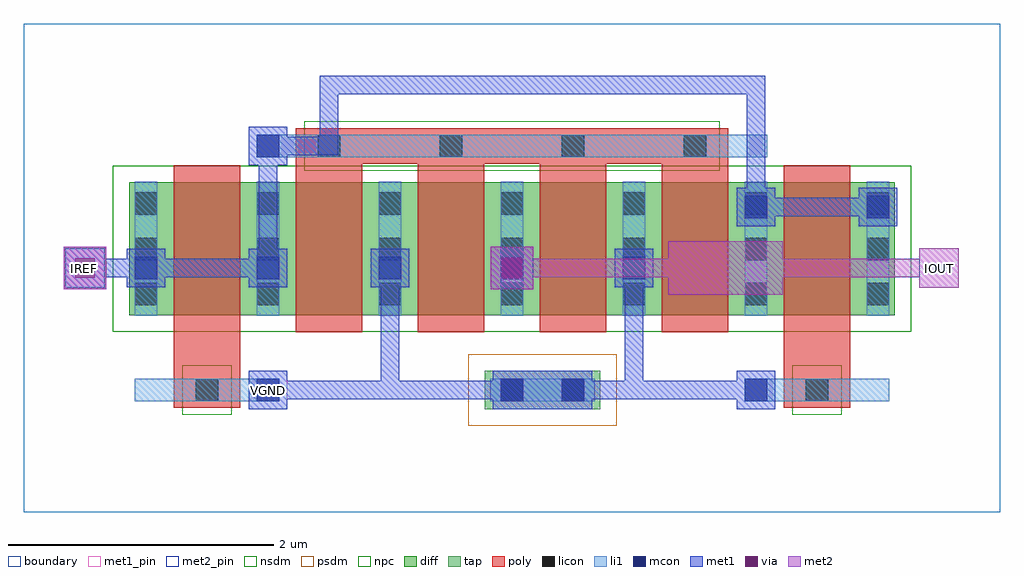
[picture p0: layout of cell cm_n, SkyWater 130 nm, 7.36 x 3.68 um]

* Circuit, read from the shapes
.subckt cm_n IOUT IREF VGND
XM1 IREF VGND IREF VGND sky130_fd_pr__nfet_01v8 w=1 l=0.5 m=2
XM2 VGND IREF IREF VGND sky130_fd_pr__nfet_01v8 w=1 l=0.5 m=2
XM3 IOUT IREF VGND VGND sky130_fd_pr__nfet_01v8 w=1 l=0.5 m=2
.ends

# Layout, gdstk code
import gdstk
lib = gdstk.Library(unit=1e-6, precision=1e-09)
def R(c, l, rs):  # rectangles x0, y0, x1, y1
    for r in rs: c.add(gdstk.rectangle(r[:2], r[2:], *l))
def A(c, l, x, y, w, h, nx, ny, dx, dy):  # array of equal rectangles
    R(c, l, [(x+i*dx, y+j*dy, x+i*dx+w, y+j*dy+h) for i in range(nx) for j in range(ny)])
diff = (65, 20)
tap = (65, 44)
poly = (66, 20)
licon = (66, 44)
li1 = (67, 20)
mcon = (67, 44)
met1_pin = (68, 16)
met1 = (68, 20)
via = (68, 44)
met2_pin = (69, 16)
met2 = (69, 20)
nsdm = (93, 44)
psdm = (94, 20)
npc = (95, 20)
boundary = (235, 4)

cm_n = lib.new_cell('cm_n')
R(cm_n, diff, [(0.795,1.485,6.565,2.485)])
R(cm_n, tap, [(3.475,0.775,4.345,1.065)])
A(cm_n, poly, 2.05, 1.355, 0.5, 1.405, 4, 1, 0.92, 0)
R(cm_n, poly, [(1.13,0.785,1.63,1.055), (5.73,0.785,6.23,1.055), (1.13,0.92,1.63,2.615), (5.73,0.92,6.23,2.615), (2.05,2.625,5.31,2.895)])
A(cm_n, licon, 0.835, 1.56, 0.17, 0.17, 7, 3, 0.92, 0.34)
A(cm_n, licon, 2.215, 2.675, 0.17, 0.17, 4, 1, 0.92, 0)
R(cm_n, licon, [(1.295,0.835,1.465,1.005), (3.595,0.835,3.765,1.005), (4.055,0.835,4.225,1.005), (5.895,0.835,6.065,1.005)])
A(cm_n, li1, 0.835, 1.48, 0.17, 1.01, 7, 1, 0.92, 0)
R(cm_n, li1, [(0.835,0.835,1.925,1.005), (3.515,0.835,4.305,1.005), (5.435,0.835,6.525,1.005), (1.755,2.675,5.605,2.845)])
A(cm_n, mcon, 0.835, 1.755, 0.17, 0.17, 5, 1, 0.92, 0)
R(cm_n, mcon, [(1.755,0.835,1.925,1.005), (3.595,0.835,3.765,1.005), (4.055,0.835,4.225,1.005), (5.435,0.835,5.605,1.005), (5.435,2.215,5.605,2.385), (6.355,2.215,6.525,2.385), (1.755,2.675,1.925,2.845)])
R(cm_n, met1_pin, [(1.695,0.775,1.985,1.065)])
A(cm_n, met1, 1.77, 0.85, 1.06, 0.14, 4, 1, 0.92, 0)
A(cm_n, met1, 0.775, 1.695, 0.29, 0.29, 5, 1, 0.92, 0)
R(cm_n, met1, [(1.695,0.775,1.985,1.065), (3.535,0.775,4.285,1.065), (5.375,0.775,5.665,1.065), (2.69,0.85,2.83,1.91), (3.61,0.85,3.75,0.99), (4.53,0.85,4.67,1.91), (0.3,1.68,0.62,2), (3.52,1.68,3.84,2), (0.39,1.77,0.99,1.91), (0.85,1.77,1.91,1.91), (1.77,1.77,1.91,2.83), (5.375,2.155,5.665,2.445), (6.295,2.155,6.585,2.445), (5.45,2.23,6.51,2.37), (5.45,2.23,5.59,3.29), (1.695,2.615,1.985,2.905), (1.77,2.69,2.37,2.83), (2.23,2.69,2.37,3.29), (2.23,3.15,5.59,3.29)])
R(cm_n, via, [(0.385,1.765,0.535,1.915), (3.605,1.765,3.755,1.915)])
R(cm_n, met2_pin, [(0.31,1.69,0.61,1.99), (6.75,1.69,7.05,1.99)])
R(cm_n, met2, [(4.86,1.64,5.72,2.04), (0.3,1.68,0.62,2), (3.52,1.68,3.84,2), (0.31,1.69,0.61,1.99), (6.75,1.69,7.05,1.99), (0.39,1.77,0.53,1.91), (3.61,1.77,5.13,1.91), (5.45,1.77,6.97,1.91), (6.83,1.77,6.97,1.91)])
R(cm_n, nsdm, [(0.67,1.36,6.69,2.61)])
R(cm_n, psdm, [(3.35,0.65,4.47,1.19)])
R(cm_n, npc, [(1.195,0.735,1.565,1.105), (5.795,0.735,6.165,1.105), (2.115,2.575,5.245,2.945)])
R(cm_n, boundary, [(0,0,7.36,3.68)])
cm_n.add(gdstk.Label('VGND', (1.84,0.92), layer=68, texttype=5))
cm_n.add(gdstk.Label('IREF', (0.46,1.84), layer=69, texttype=5))
cm_n.add(gdstk.Label('IOUT', (6.9,1.84), layer=69, texttype=5))
cm_n.add(gdstk.Label('VGND', (1.84,0.92), layer=68, texttype=16))
cm_n.add(gdstk.Label('IREF', (0.46,1.84), layer=69, texttype=16))
cm_n.add(gdstk.Label('IOUT', (6.9,1.84), layer=69, texttype=16))

lib.write_gds('cm_n.gds')
